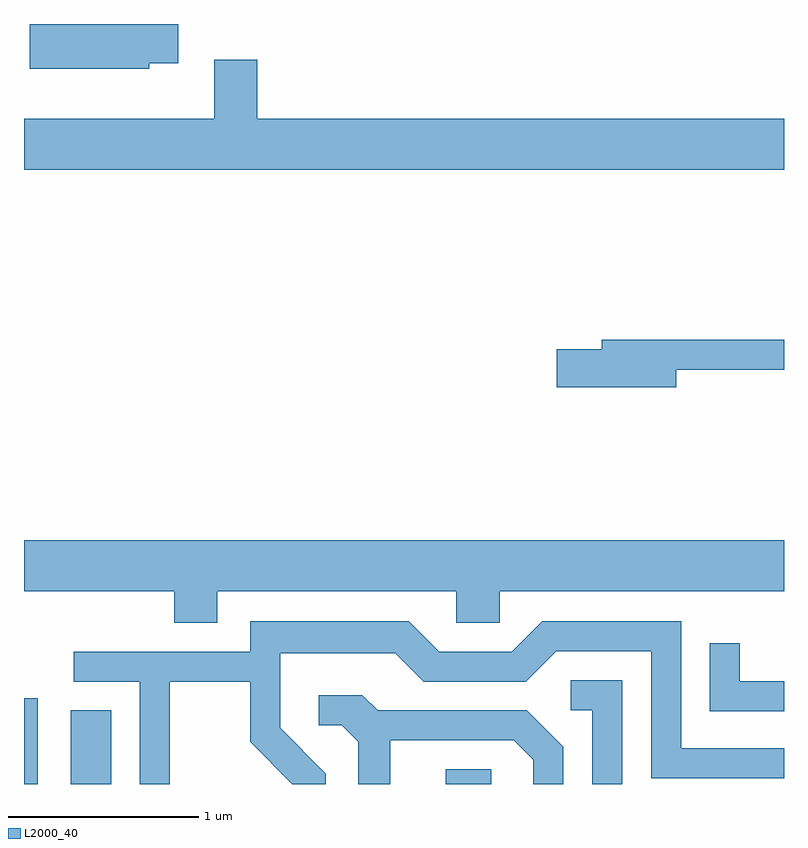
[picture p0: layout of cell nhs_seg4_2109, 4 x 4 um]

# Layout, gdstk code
import gdstk
lib = gdstk.Library(unit=1e-6, precision=1e-09)
def R(c, l, rs):  # rectangles x0, y0, x1, y1
    for r in rs: c.add(gdstk.rectangle(r[:2], r[2:], *l))
def P(c, l, *ps):  # polygons
    for p in ps: c.add(gdstk.Polygon(p, *l))
L2000_40 = (2000, 40)

nhs_seg4_2109 = lib.new_cell('nhs_seg4_2109')
R(nhs_seg4_2109, L2000_40, [(247.611,1255.982,247.684,1256.434), (247.856,1255.982,248.069,1256.369), (249.831,1255.982,250.069,1256.059)])
P(nhs_seg4_2109, L2000_40, [(248.269,1259.776),(248.424,1259.776),(248.424,1259.982),(247.641,1259.982),(247.641,1259.746),(248.269,1259.746)],
  [(251.611,1259.484),(248.839,1259.484),(248.839,1259.794),(248.611,1259.794),(248.611,1259.484),(247.611,1259.484),(247.611,1259.216),(251.611,1259.216)],
  [(251.044,1258.161),(251.611,1258.161),(251.611,1258.319),(250.651,1258.319),(250.651,1258.269),(250.416,1258.269),(250.416,1258.071),(251.044,1258.071)],
  [(248.629,1256.996),(249.886,1256.996),(249.886,1256.831),(250.114,1256.831),(250.114,1256.996),(251.611,1256.996),(251.611,1257.264),(247.611,1257.264),(247.611,1256.996),(248.401,1256.996),(248.401,1256.831),(248.629,1256.831)],
  [(248.379,1256.521),(248.801,1256.521),(248.801,1256.204),(249.023,1255.982),(249.199,1255.982),(249.199,1256.037),(248.959,1256.277),(248.959,1256.671),(249.564,1256.671),(249.714,1256.521),(250.252,1256.521),(250.412,1256.681),(250.911,1256.681),(250.911,1256.011),(251.611,1256.011),(251.611,1256.169),(251.069,1256.169),(251.069,1256.839),(250.339,1256.839),(250.179,1256.679),(249.797,1256.679),(249.637,1256.839),(248.801,1256.839),(248.801,1256.679),(247.873,1256.679),(247.873,1256.521),(248.221,1256.521),(248.221,1255.982),(248.379,1255.982)],
  [(251.611,1256.524),(251.379,1256.524),(251.379,1256.723),(251.221,1256.723),(251.221,1256.366),(251.611,1256.366)],
  [(250.759,1256.529),(250.488,1256.529),(250.488,1256.371),(250.601,1256.371),(250.601,1255.982),(250.759,1255.982)],
  [(249.539,1256.211),(250.189,1256.211),(250.291,1256.109),(250.291,1255.982),(250.449,1255.982),(250.449,1256.177),(250.257,1256.369),(249.472,1256.369),(249.392,1256.449),(249.163,1256.449),(249.163,1256.291),(249.284,1256.291),(249.371,1256.204),(249.371,1255.982),(249.539,1255.982)])

lib.write_gds('nhs_seg4_2109.gds')
